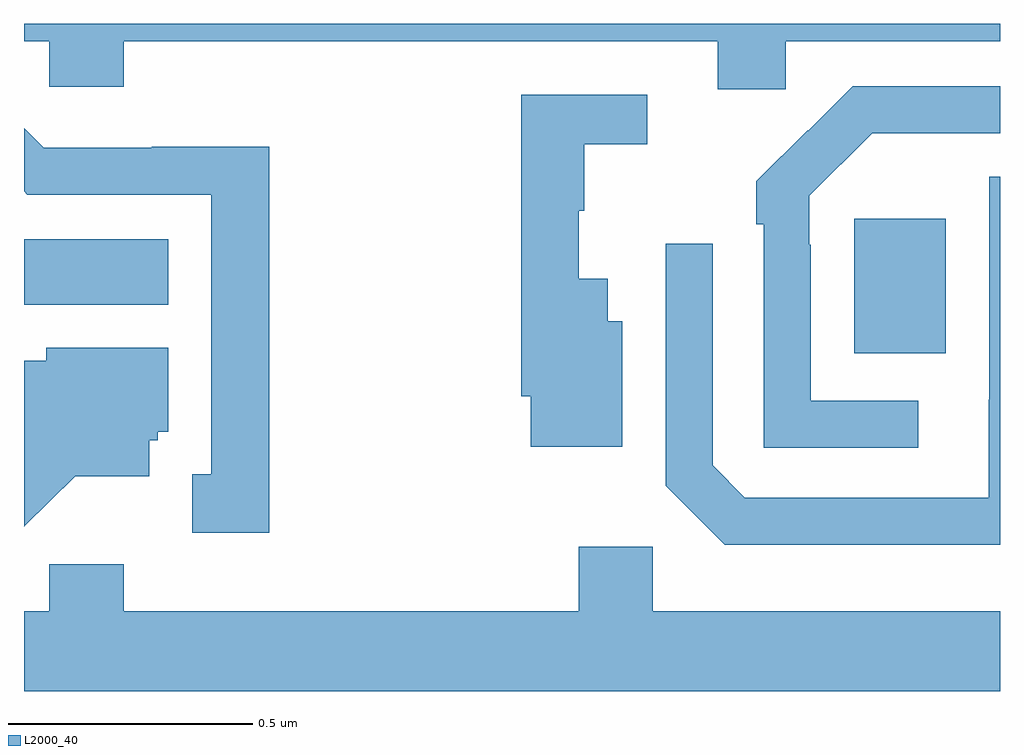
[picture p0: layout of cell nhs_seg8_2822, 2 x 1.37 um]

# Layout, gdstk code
import gdstk
lib = gdstk.Library(unit=1e-6, precision=1e-09)
def R(c, l, rs):  # rectangles x0, y0, x1, y1
    for r in rs: c.add(gdstk.rectangle(r[:2], r[2:], *l))
def P(c, l, *ps):  # polygons
    for p in ps: c.add(gdstk.Polygon(p, *l))
L2000_40 = (2000, 40)

nhs_seg8_2822 = lib.new_cell('nhs_seg8_2822')
R(nhs_seg8_2822, L2000_40, [(150.701,1085.225,150.889,1085.5), (149,1085.324,149.296,1085.458)])
P(nhs_seg8_2822, L2000_40, [(150.561,1085.864),(151,1085.864),(151,1085.9),(149,1085.9),(149,1085.864),(149.052,1085.864),(149.052,1085.771),(149.204,1085.771),(149.204,1085.864),(150.422,1085.864),(150.422,1085.766),(150.561,1085.766)],
  [(150.832,1085.127),(150.612,1085.127),(150.612,1085.447),(150.609,1085.447),(150.609,1085.547),(150.738,1085.676),(151,1085.676),(151,1085.772),(150.698,1085.772),(150.607,1085.681),(150.606,1085.682),(150.501,1085.577),(150.501,1085.489),(150.516,1085.489),(150.516,1085.031),(150.832,1085.031)],
  [(150.226,1085.29),(150.196,1085.29),(150.196,1085.377),(150.137,1085.377),(150.137,1085.517),(150.148,1085.517),(150.148,1085.653),(150.277,1085.653),(150.277,1085.754),(150.019,1085.754),(150.019,1085.137),(150.038,1085.137),(150.038,1085.033),(150.226,1085.033)],
  [(149.503,1085.648),(149.262,1085.648),(149.262,1085.646),(149.04,1085.646),(149,1085.686),(149,1085.557),(149.007,1085.55),(149.384,1085.55),(149.384,1084.977),(149.345,1084.977),(149.345,1084.857),(149.503,1084.857)],
  [(151,1085.586),(150.978,1085.586),(150.978,1085.129),(150.977,1085.129),(150.977,1084.929),(150.477,1084.929),(150.411,1084.995),(150.411,1085.449),(150.315,1085.449),(150.315,1084.953),(150.436,1084.832),(151,1084.832)],
  [(149.002,1084.871),(149.105,1084.973),(149.257,1084.973),(149.257,1085.046),(149.274,1085.046),(149.274,1085.064),(149.296,1085.064),(149.296,1085.236),(149.046,1085.236),(149.046,1085.209),(149,1085.209),(149,1084.869)],
  [(151,1084.696),(150.288,1084.696),(150.288,1084.828),(150.137,1084.828),(150.137,1084.696),(149.204,1084.696),(149.204,1084.792),(149.052,1084.792),(149.052,1084.696),(149,1084.696),(149,1084.532),(151,1084.532)])

lib.write_gds('nhs_seg8_2822.gds')
